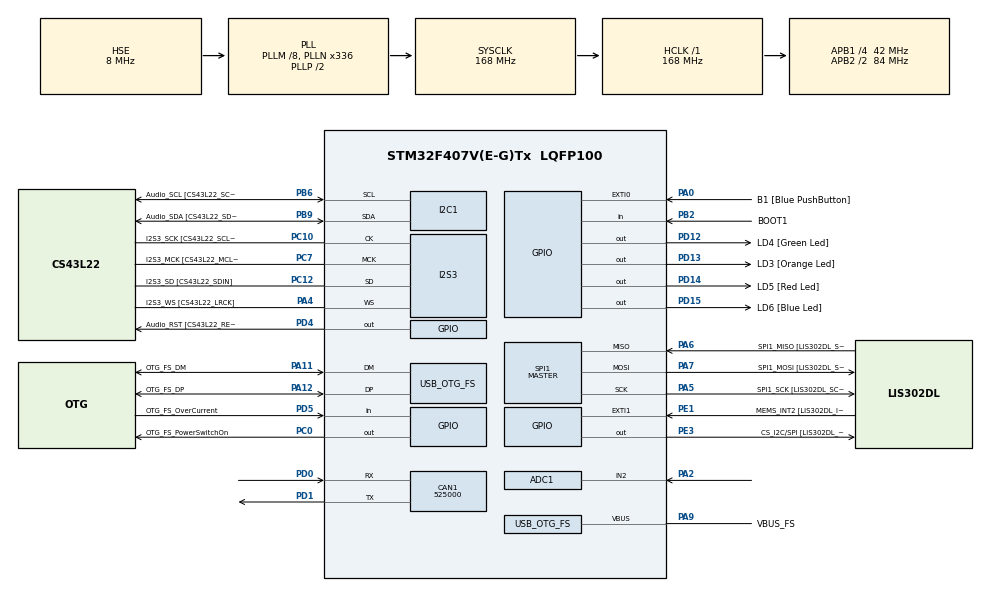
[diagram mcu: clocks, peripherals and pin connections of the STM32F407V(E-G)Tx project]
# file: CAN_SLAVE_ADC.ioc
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ADC1.Channel-0\#ChannelRegularConversion=ADC_CHANNEL_2
ADC1.NbrOfConversionFlag=1
ADC1.Rank-0\#ChannelRegularConversion=1
ADC1.SamplingTime-0\#ChannelRegularConversion=ADC_SAMPLETIME_3CYCLES
ADC1.master=1
CAN1.BS1=CAN_BS1_2TQ
CAN1.BS2=CAN_BS2_2TQ
CAN1.CalculateBaudRate=525000
CAN1.CalculateTimeBit=1904
CAN1.CalculateTimeQuantum=380.95238095238096
CAN1.Mode=CAN_MODE_NORMAL
Dma.ADC1.0.Direction=DMA_PERIPH_TO_MEMORY
Dma.ADC1.0.FIFOMode=DMA_FIFOMODE_DISABLE
Dma.ADC1.0.Instance=DMA2_Stream0
Dma.ADC1.0.MemDataAlignment=DMA_MDATAALIGN_HALFWORD
Dma.ADC1.0.MemInc=DMA_MINC_ENABLE
Dma.ADC1.0.Mode=DMA_NORMAL
Dma.ADC1.0.PeriphDataAlignment=DMA_PDATAALIGN_HALFWORD
Dma.ADC1.0.PeriphInc=DMA_PINC_DISABLE
Dma.ADC1.0.Priority=DMA_PRIORITY_LOW
Dma.Request0=ADC1
I2S3.AudioFreq-Half_Duplex_Master=I2S_AUDIOFREQ_96K
I2S3.ErrorAudioFreq=-2.34 %
I2S3.ErrorAudioFreq-Half_Duplex_Master=0.8 %
I2S3.FullDuplexMode=I2S_FULLDUPLEXMODE_DISABLE
I2S3.Instance=SPI$Index
I2S3.RealAudioFreq=93.75 KHz
I2S3.RealAudioFreq-Half_Duplex_Master=96.774 KHz
I2S3.VirtualMode=I2S_MODE_MASTER
Mcu.Family=STM32F4
Mcu.Name=STM32F407V(E-G)Tx
Mcu.Package=LQFP100
NVIC.CAN1_RX0_IRQn=true\:0\:0\:false\:false\:true\:true\:true\:true
NVIC.CAN1_RX1_IRQn=true\:0\:0\:false\:false\:true\:true\:true\:true
NVIC.DMA2_Stream0_IRQn=true\:0\:0\:false\:false\:true\:false\:true\:true
NVIC.OTG_FS_IRQn=true\:0\:0\:false\:false\:true\:true\:true\:true
NVIC.PriorityGroup=NVIC_PRIORITYGROUP_0
NVIC.TIM3_IRQn=true\:0\:0\:false\:false\:true\:true\:true\:true
PA0-WKUP.GPIO_Label=B1 [Blue PushButton]
PA0-WKUP.GPIO_ModeDefaultEXTI=GPIO_MODE_EVT_RISING
PA0-WKUP.GPIO_PuPd=GPIO_NOPULL
PA0-WKUP.Signal=GPXTI0
PA10.GPIO_Label=OTG_FS_ID
PA10.GPIO_Mode=GPIO_MODE_AF_PP
PA10.GPIO_PuPd=GPIO_NOPULL
PA10.GPIO_Speed=GPIO_SPEED_FREQ_LOW
PA10.Signal=USB_OTG_FS_ID
PA11.GPIO_Label=OTG_FS_DM
PA11.GPIO_Mode=GPIO_MODE_AF_PP
PA11.GPIO_PuPd=GPIO_NOPULL
PA11.GPIO_Speed=GPIO_SPEED_FREQ_LOW
PA11.Mode=Host_Only
PA11.Signal=USB_OTG_FS_DM
PA12.GPIO_Label=OTG_FS_DP
PA12.GPIO_Mode=GPIO_MODE_AF_PP
PA12.GPIO_PuPd=GPIO_NOPULL
PA12.GPIO_Speed=GPIO_SPEED_FREQ_LOW
PA12.Mode=Host_Only
PA12.Signal=USB_OTG_FS_DP
PA13.GPIO_Label=SWDIO
PA13.Mode=Serial_Wire
PA13.Signal=SYS_JTMS-SWDIO
PA14.GPIO_Label=SWCLK
PA14.Mode=Serial_Wire
PA14.Signal=SYS_JTCK-SWCLK
PA2.Signal=ADCx_IN2
PA4.GPIO_Label=I2S3_WS [CS43L22_LRCK]
PA4.GPIO_Mode=GPIO_MODE_AF_PP
PA4.GPIO_PuPd=GPIO_NOPULL
PA4.GPIO_Speed=GPIO_SPEED_FREQ_LOW
PA4.Mode=Half_Duplex_Master
PA4.Signal=I2S3_WS
PA5.GPIO_Label=SPI1_SCK [LIS302DL_SCL/SPC]
PA5.GPIO_Mode=GPIO_MODE_AF_PP
PA5.GPIO_PuPd=GPIO_NOPULL
PA5.GPIO_Speed=GPIO_SPEED_FREQ_LOW
PA5.Mode=Full_Duplex_Master
PA5.Signal=SPI1_SCK
PA6.GPIO_Label=SPI1_MISO [LIS302DL_SDO]
PA6.GPIO_Mode=GPIO_MODE_AF_PP
PA6.GPIO_PuPd=GPIO_NOPULL
PA6.GPIO_Speed=GPIO_SPEED_FREQ_LOW
PA6.Mode=Full_Duplex_Master
PA6.Signal=SPI1_MISO
PA7.GPIO_Label=SPI1_MOSI [LIS302DL_SDA/SDI/SDO]
PA7.GPIO_Mode=GPIO_MODE_AF_PP
PA7.GPIO_PuPd=GPIO_NOPULL
PA7.GPIO_Speed=GPIO_SPEED_FREQ_LOW
PA7.Mode=Full_Duplex_Master
PA7.Signal=SPI1_MOSI
PA9.GPIO_Label=VBUS_FS
PA9.GPIO_Mode=GPIO_MODE_INPUT
PA9.GPIO_PuPd=GPIO_NOPULL
PA9.Mode=Activate_VBUS
PA9.Signal=USB_OTG_FS_VBUS
PB10.GPIO_Label=CLK_IN [MP45DT02_CLK]
PB10.GPIO_Mode=GPIO_MODE_AF_PP
PB10.GPIO_PuPd=GPIO_NOPULL
PB10.GPIO_Speed=GPIO_SPEED_FREQ_LOW
PB10.Signal=I2S2_CK
PB2.GPIO_Label=BOOT1
PB2.GPIO_Mode=GPIO_MODE_INPUT
PB2.GPIO_PuPd=GPIO_NOPULL
PB2.Signal=GPIO_Input
PB3.GPIO_Label=SWO
PB3.Signal=SYS_JTDO-SWO
PB6.GPIO_Label=Audio_SCL [CS43L22_SCL]
PB6.GPIO_Mode=GPIO_MODE_AF_OD
PB6.GPIO_Pu=GPIO_PULLUP
PB6.GPIO_PuPd=GPIO_NOPULL
PB6.GPIO_Speed=GPIO_SPEED_FREQ_LOW
PB6.Mode=I2C
PB6.Signal=I2C1_SCL
PB9.GPIO_Label=Audio_SDA [CS43L22_SDA]
PB9.GPIO_Mode=GPIO_MODE_AF_OD
PB9.GPIO_Pu=GPIO_PULLUP
PB9.GPIO_PuPd=GPIO_NOPULL
PB9.GPIO_Speed=GPIO_SPEED_FREQ_LOW
PB9.Mode=I2C
PB9.Signal=I2C1_SDA
PC0.GPIO_Label=OTG_FS_PowerSwitchOn
PC0.GPIO_PuPd=GPIO_NOPULL
PC0.GPIO_Speed=GPIO_SPEED_FREQ_LOW
PC0.PinState=GPIO_PIN_SET
PC0.Signal=GPIO_Output
PC10.GPIO_Label=I2S3_SCK [CS43L22_SCLK]
PC10.GPIO_Mode=GPIO_MODE_AF_PP
PC10.GPIO_PuPd=GPIO_NOPULL
PC10.GPIO_Speed=GPIO_SPEED_FREQ_LOW
PC10.Mode=Half_Duplex_Master
PC10.Signal=I2S3_CK
PC12.GPIO_Label=I2S3_SD [CS43L22_SDIN]
PC12.GPIO_Mode=GPIO_MODE_AF_PP
PC12.GPIO_PuPd=GPIO_NOPULL
PC12.GPIO_Speed=GPIO_SPEED_FREQ_LOW
PC12.Mode=Half_Duplex_Master
PC12.Signal=I2S3_SD
PC14-OSC32_IN.GPIO_Label=PC14-OSC32_IN
PC14-OSC32_IN.Signal=RCC_OSC32_IN
PC15-OSC32_OUT.GPIO_Label=PC15-OSC32_OUT
PC15-OSC32_OUT.Signal=RCC_OSC32_OUT
PC3.GPIO_Label=PDM_OUT [MP45DT02_DOUT]
PC3.GPIO_Mode=GPIO_MODE_AF_PP
PC3.GPIO_PuPd=GPIO_NOPULL
PC3.GPIO_Speed=GPIO_SPEED_FREQ_LOW
PC3.Signal=I2S2_SD
PC7.GPIO_Label=I2S3_MCK [CS43L22_MCLK]
PC7.GPIO_Mode=GPIO_MODE_AF_PP
PC7.GPIO_PuPd=GPIO_NOPULL
PC7.GPIO_Speed=GPIO_SPEED_FREQ_LOW
PC7.Mode=Master_Clock_Activated
PC7.Signal=I2S3_MCK
PD0.Mode=CAN_Activate
PD0.Signal=CAN1_RX
PD1.Mode=CAN_Activate
PD1.Signal=CAN1_TX
PD12.GPIO_Label=LD4 [Green Led]
PD12.GPIO_PuPd=GPIO_NOPULL
PD12.GPIO_Speed=GPIO_SPEED_FREQ_LOW
PD12.Signal=GPIO_Output
PD13.GPIO_Label=LD3 [Orange Led]
PD13.GPIO_PuPd=GPIO_NOPULL
PD13.GPIO_Speed=GPIO_SPEED_FREQ_LOW
PD13.Signal=GPIO_Output
PD14.GPIO_Label=LD5 [Red Led]
PD14.GPIO_PuPd=GPIO_NOPULL
PD14.GPIO_Speed=GPIO_SPEED_FREQ_LOW
PD14.Signal=GPIO_Output
PD15.GPIO_Label=LD6 [Blue Led]
PD15.GPIO_PuPd=GPIO_NOPULL
PD15.GPIO_Speed=GPIO_SPEED_FREQ_LOW
PD15.Signal=GPIO_Output
PD4.GPIO_Label=Audio_RST [CS43L22_RESET]
PD4.GPIO_PuPd=GPIO_NOPULL
PD4.GPIO_Speed=GPIO_SPEED_FREQ_LOW
PD4.Signal=GPIO_Output
PD5.GPIO_Label=OTG_FS_OverCurrent
PD5.GPIO_Mode=GPIO_MODE_INPUT
PD5.GPIO_PuPd=GPIO_NOPULL
PD5.Signal=GPIO_Input
PE1.GPIO_Label=MEMS_INT2 [LIS302DL_INT2]
PE1.GPIO_ModeDefaultEXTI=GPIO_MODE_EVT_RISING
PE1.GPIO_PuPd=GPIO_NOPULL
PE1.Signal=GPXTI1
PE3.GPIO_Label=CS_I2C/SPI [LIS302DL_CS_I2C/SPI]
PE3.GPIO_PuPd=GPIO_NOPULL
PE3.GPIO_Speed=GPIO_SPEED_FREQ_LOW
PE3.Signal=GPIO_Output
PH0-OSC_IN.GPIO_Label=PH0-OSC_IN
PH0-OSC_IN.Mode=HSE-External-Oscillator
PH0-OSC_IN.Signal=RCC_OSC_IN
PH1-OSC_OUT.GPIO_Label=PH1-OSC_OUT
PH1-OSC_OUT.Mode=HSE-External-Oscillator
PH1-OSC_OUT.Signal=RCC_OSC_OUT
ProjectManager.HeapSize=0x200
ProjectManager.StackSize=0x400
ProjectManager.TargetToolchain=STM32CubeIDE
RCC.48MHZClocksFreq_Value=48000000
RCC.AHBFreq_Value=168000000
RCC.APB1CLKDivider=RCC_HCLK_DIV4
RCC.APB1Freq_Value=42000000
RCC.APB1TimFreq_Value=84000000
RCC.APB2CLKDivider=RCC_HCLK_DIV2
RCC.APB2Freq_Value=84000000
RCC.APB2TimFreq_Value=168000000
RCC.CortexFreq_Value=168000000
RCC.HCLKFreq_Value=168000000
RCC.HSE_VALUE=8000000
RCC.HSI_VALUE=16000000
RCC.LSE_VALUE=32768
RCC.PLLM=8
RCC.PLLN=336
RCC.PLLQ=7
RCC.SYSCLKFreq_VALUE=168000000
RCC.SYSCLKSource=RCC_SYSCLKSOURCE_PLLCLK
RCC.VCOOutputFreq_Value=336000000
SH.ADCx_IN2.0=ADC1_IN2,IN2
SPI1.BaudRatePrescaler-Full_Duplex_Master=SPI_BAUDRATEPRESCALER_2
SPI1.CalculateBaudRate-Full_Duplex_Master=42.0 MBits/s
SPI1.Direction=SPI_DIRECTION_2LINES
SPI1.Mode=SPI_MODE_MASTER
SPI1.Mode-Full_Duplex_Master=SPI_MODE_MASTER
SPI1.VirtualType=VM_MASTER
TIM3.Period=4999
TIM3.Prescaler=168
USB_HOST.BSP.number=1
USB_HOST.USBH_HandleTypeDef-CDC_FS=hUsbHostFS
USB_HOST.VirtualModeFS=Cdc
USB_HOST0.BSP.STBoard=false
USB_HOST0.BSP.api=Unknown
USB_HOST0.BSP.instance=PC0
USB_HOST0.BSP.ip=GPIO
USB_HOST0.BSP.mode=Output
USB_HOST0.BSP.name=Drive_VBUS_FS
USB_HOST0.BSP.solution=PC0
USB_OTG_FS.VirtualMode=Host_Only
USB_OTG_FS.phy_itface=HCD_PHY_EMBEDDED
VP_TIM3_VS_ClockSourceINT.Mode=Internal
VP_USB_HOST_VS_USB_HOST_CDC_FS.Mode=CDC_FS
board=STM32F407G-DISC1

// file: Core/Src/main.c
/* USER CODE BEGIN Header */
/**
  ******************************************************************************
  * @file           : main.c
  * @brief          : Main program body
  ******************************************************************************
  * @attention
  *
  * Copyright (c) 2024 STMicroelectronics.
  * All rights reserved.
  *
  * This software is licensed under terms that can be found in the LICENSE file
  * in the root directory of this software component.
  * If no LICENSE file comes with this software, it is provided AS-IS.
  *
  ******************************************************************************
  */
/* USER CODE END Header */
#include "main.h"
#include "usb_host.h"

/* USER CODE BEGIN Includes */
#include "stdio.h"
#include "string.h"

//uint8_t u8_RxBuff[1];
//uint8_t u8_RxData;
//uint8_t u8_TxBuff[20] = "Hello Master";
//uint8_t _rxIndex; //
//uint16_t Tx_FLag = 0;

uint8_t ADCScanVal[4];

/* USER CODE END Includes */

ADC_HandleTypeDef hadc1;
DMA_HandleTypeDef hdma_adc1;

CAN_HandleTypeDef hcan1;

I2C_HandleTypeDef hi2c1;

I2S_HandleTypeDef hi2s3;

SPI_HandleTypeDef hspi1;

TIM_HandleTypeDef htim3;

void SystemClock_Config(void);
static void MX_GPIO_Init(void);
static void MX_DMA_Init(void);
static void MX_I2C1_Init(void);
static void MX_I2S3_Init(void);
static void MX_SPI1_Init(void);
static void MX_CAN1_Init(void);
static void MX_TIM3_Init(void);
static void MX_ADC1_Init(void);
void MX_USB_HOST_Process(void);

/* USER CODE BEGIN 0 */

CAN_HandleTypeDef     CanHandle;
CAN_TxHeaderTypeDef   TxHeader;
CAN_RxHeaderTypeDef   RxHeader;
uint8_t               TxData[8];
uint8_t               RxData[8];
uint32_t              TxMailbox;

void HAL_CAN_RxFifo0MsgPendingCallback(CAN_HandleTypeDef *hcan)
{
  if (HAL_CAN_GetRxMessage(hcan, CAN_RX_FIFO0, &RxHeader, RxData) != HAL_OK)
  {
    Error_Handler();
  }
};

void HAL_TIM_PeriodElapsedCallback(TIM_HandleTypeDef *htim){
	UNUSED(htim);
    //End reading ADC
}
/* USER CODE END 0 */

int main(void)
{

  /* MCU Configuration--------------------------------------------------------*/

  /* Reset of all peripherals, Initializes the Flash interface and the Systick. */
  HAL_Init();

  /* Configure the system clock */
  SystemClock_Config();

  /* Initialize all configured peripherals */
  MX_GPIO_Init();
  MX_DMA_Init();
  MX_I2C1_Init();
  MX_I2S3_Init();
  MX_SPI1_Init();
  MX_USB_HOST_Init();
  MX_CAN1_Init();
  MX_TIM3_Init();
  MX_ADC1_Init();
  /* USER CODE BEGIN 2 */
  if (HAL_CAN_Start(&hcan1) != HAL_OK)
     {
   	  Error_Handler();
     }

   if (HAL_CAN_ActivateNotification(&hcan1, CAN_IT_RX_FIFO0_MSG_PENDING) != HAL_OK)
     {
   	  Error_Handler();
     }

  HAL_CAN_ActivateNotification (&hcan1, CAN_IT_RX_FIFO0_MSG_PENDING);
  HAL_ADC_Start_DMA(&hadc1, (uint32_t*)ADCScanVal, 1);
  /* USER CODE END 2 */

  /* Infinite loop */
  while (1)
  {
    MX_USB_HOST_Process();

    /* USER CODE BEGIN 3 */

	TxHeader.StdId = 0x211;
	TxHeader.ExtId = 0x00;
	TxHeader.RTR = CAN_RTR_DATA;
	TxHeader.IDE = CAN_ID_STD;
	TxHeader.DLC = 8;
	TxHeader.TransmitGlobalTime = DISABLE;
    HAL_ADC_Start_DMA(&hadc1, (uint32_t*)ADCScanVal, 1);
    TxData[0] = (char)ADCScanVal[0];
    TxData[1] = (char)ADCScanVal[1];
    TxData[2] = (char)ADCScanVal[2];
    TxData[3] = (char)ADCScanVal[3];
    if (HAL_CAN_AddTxMessage(&hcan1, &TxHeader, TxData, &TxMailbox) != HAL_OK)
    			  {
    				  Error_Handler ();
    			  }
    HAL_Delay(10);

}

  /* USER CODE END 3 */
}

void SystemClock_Config(void)
{
  RCC_OscInitTypeDef RCC_OscInitStruct = {0};
  RCC_ClkInitTypeDef RCC_ClkInitStruct = {0};

  /** Configure the main internal regulator output voltage
  */
  __HAL_RCC_PWR_CLK_ENABLE();
  __HAL_PWR_VOLTAGESCALING_CONFIG(PWR_REGULATOR_VOLTAGE_SCALE1);

  /** Initializes the RCC Oscillators according to the specified parameters
  * in the RCC_OscInitTypeDef structure.
  */
  RCC_OscInitStruct.OscillatorType = RCC_OSCILLATORTYPE_HSE;
  RCC_OscInitStruct.HSEState = RCC_HSE_ON;
  RCC_OscInitStruct.PLL.PLLState = RCC_PLL_ON;
  RCC_OscInitStruct.PLL.PLLSource = RCC_PLLSOURCE_HSE;
  RCC_OscInitStruct.PLL.PLLM = 8;
  RCC_OscInitStruct.PLL.PLLN = 336;
  RCC_OscInitStruct.PLL.PLLP = RCC_PLLP_DIV2;
  RCC_OscInitStruct.PLL.PLLQ = 7;
  if (HAL_RCC_OscConfig(&RCC_OscInitStruct) != HAL_OK)
  {
    Error_Handler();
  }

  /** Initializes the CPU, AHB and APB buses clocks
  */
  RCC_ClkInitStruct.ClockType = RCC_CLOCKTYPE_HCLK|RCC_CLOCKTYPE_SYSCLK
                              |RCC_CLOCKTYPE_PCLK1|RCC_CLOCKTYPE_PCLK2;
  RCC_ClkInitStruct.SYSCLKSource = RCC_SYSCLKSOURCE_PLLCLK;
  RCC_ClkInitStruct.AHBCLKDivider = RCC_SYSCLK_DIV1;
  RCC_ClkInitStruct.APB1CLKDivider = RCC_HCLK_DIV4;
  RCC_ClkInitStruct.APB2CLKDivider = RCC_HCLK_DIV2;

  if (HAL_RCC_ClockConfig(&RCC_ClkInitStruct, FLASH_LATENCY_5) != HAL_OK)
  {
    Error_Handler();
  }
}

static void MX_ADC1_Init(void)
{

  ADC_ChannelConfTypeDef sConfig = {0};

  /** Configure the global features of the ADC (Clock, Resolution, Data Alignment and number of conversion)
  */
  hadc1.Instance = ADC1;
  hadc1.Init.ClockPrescaler = ADC_CLOCK_SYNC_PCLK_DIV4;
  hadc1.Init.Resolution = ADC_RESOLUTION_12B;
  hadc1.Init.ScanConvMode = DISABLE;
  hadc1.Init.ContinuousConvMode = DISABLE;
  hadc1.Init.DiscontinuousConvMode = DISABLE;
  hadc1.Init.ExternalTrigConvEdge = ADC_EXTERNALTRIGCONVEDGE_NONE;
  hadc1.Init.ExternalTrigConv = ADC_SOFTWARE_START;
  hadc1.Init.DataAlign = ADC_DATAALIGN_RIGHT;
  hadc1.Init.NbrOfConversion = 1;
  hadc1.Init.DMAContinuousRequests = DISABLE;
  hadc1.Init.EOCSelection = ADC_EOC_SINGLE_CONV;
  if (HAL_ADC_Init(&hadc1) != HAL_OK)
  {
    Error_Handler();
  }

  /** Configure for the selected ADC regular channel its corresponding rank in the sequencer and its sample time.
  */
  sConfig.Channel = ADC_CHANNEL_2;
  sConfig.Rank = 1;
  sConfig.SamplingTime = ADC_SAMPLETIME_3CYCLES;
  if (HAL_ADC_ConfigChannel(&hadc1, &sConfig) != HAL_OK)
  {
    Error_Handler();
  }

}

static void MX_CAN1_Init(void)
{

  hcan1.Instance = CAN1;
  hcan1.Init.Prescaler = 16;
  hcan1.Init.Mode = CAN_MODE_NORMAL;
  hcan1.Init.SyncJumpWidth = CAN_SJW_1TQ;
  hcan1.Init.TimeSeg1 = CAN_BS1_2TQ;
  hcan1.Init.TimeSeg2 = CAN_BS2_2TQ;
  hcan1.Init.TimeTriggeredMode = DISABLE;
  hcan1.Init.AutoBusOff = DISABLE;
  hcan1.Init.AutoWakeUp = DISABLE;
  hcan1.Init.AutoRetransmission = DISABLE;
  hcan1.Init.ReceiveFifoLocked = DISABLE;
  hcan1.Init.TransmitFifoPriority = DISABLE;
  if (HAL_CAN_Init(&hcan1) != HAL_OK)
  {
    Error_Handler();
  }
  /* USER CODE BEGIN CAN1_Init 2 */
  CAN_FilterTypeDef canfilterconfig_slave1;

    canfilterconfig_slave1.FilterActivation = CAN_FILTER_ENABLE;
    canfilterconfig_slave1.FilterBank = 18;  // which filter bank to use from the assigned ones
    canfilterconfig_slave1.FilterFIFOAssignment = CAN_FILTER_FIFO0;
    canfilterconfig_slave1.FilterIdHigh = 0x211<<5;
    canfilterconfig_slave1.FilterIdLow = 0;
    canfilterconfig_slave1.FilterMaskIdHigh = 0x211<<5;
    canfilterconfig_slave1.FilterMaskIdLow = 0x0000;
    canfilterconfig_slave1.FilterMode = CAN_FILTERMODE_IDMASK;
    canfilterconfig_slave1.FilterScale = CAN_FILTERSCALE_32BIT;
    canfilterconfig_slave1.SlaveStartFilterBank = 40;  // how many filters to assign to the CAN1 (master can)

    HAL_CAN_ConfigFilter(&hcan1, &canfilterconfig_slave1);

  /* USER CODE END CAN1_Init 2 */

}

static void MX_I2C1_Init(void)
{

  hi2c1.Instance = I2C1;
  hi2c1.Init.ClockSpeed = 100000;
  hi2c1.Init.DutyCycle = I2C_DUTYCYCLE_2;
  hi2c1.Init.OwnAddress1 = 0;
  hi2c1.Init.AddressingMode = I2C_ADDRESSINGMODE_7BIT;
  hi2c1.Init.DualAddressMode = I2C_DUALADDRESS_DISABLE;
  hi2c1.Init.OwnAddress2 = 0;
  hi2c1.Init.GeneralCallMode = I2C_GENERALCALL_DISABLE;
  hi2c1.Init.NoStretchMode = I2C_NOSTRETCH_DISABLE;
  if (HAL_I2C_Init(&hi2c1) != HAL_OK)
  {
    Error_Handler();
  }

}

static void MX_I2S3_Init(void)
{

  hi2s3.Instance = SPI3;
  hi2s3.Init.Mode = I2S_MODE_MASTER_TX;
  hi2s3.Init.Standard = I2S_STANDARD_PHILIPS;
  hi2s3.Init.DataFormat = I2S_DATAFORMAT_16B;
  hi2s3.Init.MCLKOutput = I2S_MCLKOUTPUT_ENABLE;
  hi2s3.Init.AudioFreq = I2S_AUDIOFREQ_96K;
  hi2s3.Init.CPOL = I2S_CPOL_LOW;
  hi2s3.Init.ClockSource = I2S_CLOCK_PLL;
  hi2s3.Init.FullDuplexMode = I2S_FULLDUPLEXMODE_DISABLE;
  if (HAL_I2S_Init(&hi2s3) != HAL_OK)
  {
    Error_Handler();
  }

}

static void MX_SPI1_Init(void)
{

  /* SPI1 parameter configuration*/
  hspi1.Instance = SPI1;
  hspi1.Init.Mode = SPI_MODE_MASTER;
  hspi1.Init.Direction = SPI_DIRECTION_2LINES;
  hspi1.Init.DataSize = SPI_DATASIZE_8BIT;
  hspi1.Init.CLKPolarity = SPI_POLARITY_LOW;
  hspi1.Init.CLKPhase = SPI_PHASE_1EDGE;
  hspi1.Init.NSS = SPI_NSS_SOFT;
  hspi1.Init.BaudRatePrescaler = SPI_BAUDRATEPRESCALER_2;
  hspi1.Init.FirstBit = SPI_FIRSTBIT_MSB;
  hspi1.Init.TIMode = SPI_TIMODE_DISABLE;
  hspi1.Init.CRCCalculation = SPI_CRCCALCULATION_DISABLE;
  hspi1.Init.CRCPolynomial = 10;
  if (HAL_SPI_Init(&hspi1) != HAL_OK)
  {
    Error_Handler();
  }

}

static void MX_TIM3_Init(void)
{

  TIM_ClockConfigTypeDef sClockSourceConfig = {0};
  TIM_MasterConfigTypeDef sMasterConfig = {0};

  htim3.Instance = TIM3;
  htim3.Init.Prescaler = 168;
  htim3.Init.CounterMode = TIM_COUNTERMODE_UP;
  htim3.Init.Period = 4999;
  htim3.Init.ClockDivision = TIM_CLOCKDIVISION_DIV1;
  htim3.Init.AutoReloadPreload = TIM_AUTORELOAD_PRELOAD_DISABLE;
  if (HAL_TIM_Base_Init(&htim3) != HAL_OK)
  {
    Error_Handler();
  }
  sClockSourceConfig.ClockSource = TIM_CLOCKSOURCE_INTERNAL;
  if (HAL_TIM_ConfigClockSource(&htim3, &sClockSourceConfig) != HAL_OK)
  {
    Error_Handler();
  }
  sMasterConfig.MasterOutputTrigger = TIM_TRGO_RESET;
  sMasterConfig.MasterSlaveMode = TIM_MASTERSLAVEMODE_DISABLE;
  if (HAL_TIMEx_MasterConfigSynchronization(&htim3, &sMasterConfig) != HAL_OK)
  {
    Error_Handler();
  }

}

static void MX_DMA_Init(void)
{

  /* DMA controller clock enable */
  __HAL_RCC_DMA2_CLK_ENABLE();

  /* DMA interrupt init */
  /* DMA2_Stream0_IRQn interrupt configuration */
  HAL_NVIC_SetPriority(DMA2_Stream0_IRQn, 0, 0);
  HAL_NVIC_EnableIRQ(DMA2_Stream0_IRQn);

}

static void MX_GPIO_Init(void)
{
  GPIO_InitTypeDef GPIO_InitStruct = {0};

  /* GPIO Ports Clock Enable */
  __HAL_RCC_GPIOE_CLK_ENABLE();
  __HAL_RCC_GPIOC_CLK_ENABLE();
  __HAL_RCC_GPIOH_CLK_ENABLE();
  __HAL_RCC_GPIOA_CLK_ENABLE();
  __HAL_RCC_GPIOB_CLK_ENABLE();
  __HAL_RCC_GPIOD_CLK_ENABLE();

  /*Configure GPIO pin Output Level */
  HAL_GPIO_WritePin(CS_I2C_SPI_GPIO_Port, CS_I2C_SPI_Pin, GPIO_PIN_RESET);

  /*Configure GPIO pin Output Level */
  HAL_GPIO_WritePin(OTG_FS_PowerSwitchOn_GPIO_Port, OTG_FS_PowerSwitchOn_Pin, GPIO_PIN_SET);

  /*Configure GPIO pin Output Level */
  HAL_GPIO_WritePin(GPIOD, LD4_Pin|LD3_Pin|LD5_Pin|LD6_Pin
                          |Audio_RST_Pin, GPIO_PIN_RESET);

  /*Configure GPIO pin : CS_I2C_SPI_Pin */
  GPIO_InitStruct.Pin = CS_I2C_SPI_Pin;
  GPIO_InitStruct.Mode = GPIO_MODE_OUTPUT_PP;
  GPIO_InitStruct.Pull = GPIO_NOPULL;
  GPIO_InitStruct.Speed = GPIO_SPEED_FREQ_LOW;
  HAL_GPIO_Init(CS_I2C_SPI_GPIO_Port, &GPIO_InitStruct);

  /*Configure GPIO pin : OTG_FS_PowerSwitchOn_Pin */
  GPIO_InitStruct.Pin = OTG_FS_PowerSwitchOn_Pin;
  GPIO_InitStruct.Mode = GPIO_MODE_OUTPUT_PP;
  GPIO_InitStruct.Pull = GPIO_NOPULL;
  GPIO_InitStruct.Speed = GPIO_SPEED_FREQ_LOW;
  HAL_GPIO_Init(OTG_FS_PowerSwitchOn_GPIO_Port, &GPIO_InitStruct);

  /*Configure GPIO pin : PDM_OUT_Pin */
  GPIO_InitStruct.Pin = PDM_OUT_Pin;
  GPIO_InitStruct.Mode = GPIO_MODE_AF_PP;
  GPIO_InitStruct.Pull = GPIO_NOPULL;
  GPIO_InitStruct.Speed = GPIO_SPEED_FREQ_LOW;
  GPIO_InitStruct.Alternate = GPIO_AF5_SPI2;
  HAL_GPIO_Init(PDM_OUT_GPIO_Port, &GPIO_InitStruct);

  /*Configure GPIO pin : B1_Pin */
  GPIO_InitStruct.Pin = B1_Pin;
  GPIO_InitStruct.Mode = GPIO_MODE_EVT_RISING;
  GPIO_InitStruct.Pull = GPIO_NOPULL;
  HAL_GPIO_Init(B1_GPIO_Port, &GPIO_InitStruct);

  /*Configure GPIO pin : BOOT1_Pin */
  GPIO_InitStruct.Pin = BOOT1_Pin;
  GPIO_InitStruct.Mode = GPIO_MODE_INPUT;
  GPIO_InitStruct.Pull = GPIO_NOPULL;
  HAL_GPIO_Init(BOOT1_GPIO_Port, &GPIO_InitStruct);

  /*Configure GPIO pin : CLK_IN_Pin */
  GPIO_InitStruct.Pin = CLK_IN_Pin;
  GPIO_InitStruct.Mode = GPIO_MODE_AF_PP;
  GPIO_InitStruct.Pull = GPIO_NOPULL;
  GPIO_InitStruct.Speed = GPIO_SPEED_FREQ_LOW;
  GPIO_InitStruct.Alternate = GPIO_AF5_SPI2;
  HAL_GPIO_Init(CLK_IN_GPIO_Port, &GPIO_InitStruct);

  /*Configure GPIO pins : LD4_Pin LD3_Pin LD5_Pin LD6_Pin
                           Audio_RST_Pin */
  GPIO_InitStruct.Pin = LD4_Pin|LD3_Pin|LD5_Pin|LD6_Pin
                          |Audio_RST_Pin;
  GPIO_InitStruct.Mode = GPIO_MODE_OUTPUT_PP;
  GPIO_InitStruct.Pull = GPIO_NOPULL;
  GPIO_InitStruct.Speed = GPIO_SPEED_FREQ_LOW;
  HAL_GPIO_Init(GPIOD, &GPIO_InitStruct);

  /*Configure GPIO pin : OTG_FS_OverCurrent_Pin */
  GPIO_InitStruct.Pin = OTG_FS_OverCurrent_Pin;
  GPIO_InitStruct.Mode = GPIO_MODE_INPUT;
  GPIO_InitStruct.Pull = GPIO_NOPULL;
  HAL_GPIO_Init(OTG_FS_OverCurrent_GPIO_Port, &GPIO_InitStruct);

  /*Configure GPIO pin : MEMS_INT2_Pin */
  GPIO_InitStruct.Pin = MEMS_INT2_Pin;
  GPIO_InitStruct.Mode = GPIO_MODE_EVT_RISING;
  GPIO_InitStruct.Pull = GPIO_NOPULL;
  HAL_GPIO_Init(MEMS_INT2_GPIO_Port, &GPIO_InitStruct);

}

void Error_Handler(void)
{
  __disable_irq();
  while (1)
  {
  }
}
